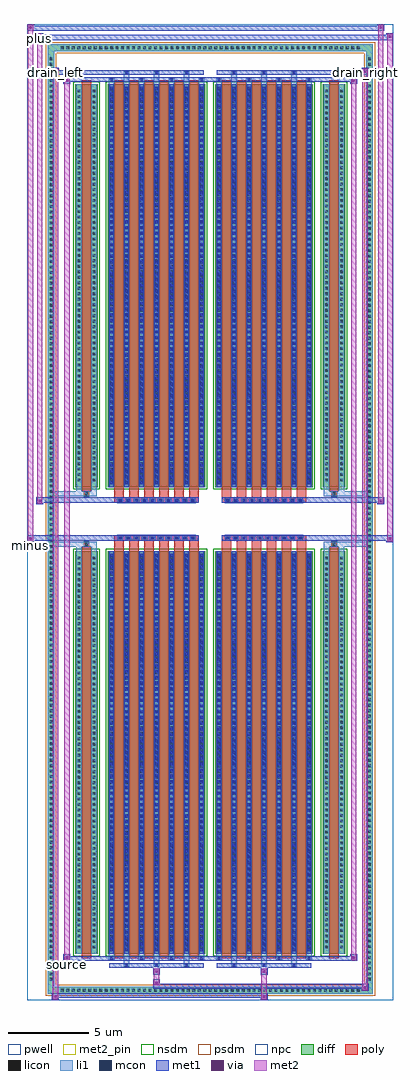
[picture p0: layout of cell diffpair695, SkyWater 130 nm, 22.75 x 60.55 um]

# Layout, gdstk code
import gdstk
lib = gdstk.Library(unit=1e-6, precision=5e-09)
def R(c, l, rs):  # rectangles x0, y0, x1, y1
    for r in rs: c.add(gdstk.rectangle(r[:2], r[2:], *l))
def A(c, l, x, y, w, h, nx, ny, dx, dy):  # array of equal rectangles
    R(c, l, [(x+i*dx, y+j*dy, x+i*dx+w, y+j*dy+h) for i in range(nx) for j in range(ny)])
def P(c, l, *ps):  # polygons
    for p in ps: c.add(gdstk.Polygon(p, *l))
pwell = (64, 44)
diff = (65, 20)
poly = (66, 20)
licon = (66, 44)
li1 = (67, 20)
mcon = (67, 44)
met1 = (68, 20)
via = (68, 44)
met2_pin = (69, 16)
met2 = (69, 20)
nsdm = (93, 44)
psdm = (94, 20)
npc = (95, 20)

diffpair695 = lib.new_cell('diffpair695')
R(diffpair695, pwell, [(-11.36,-29.84,11.36,30.71), (-8.68,-28.03,-0.01,-0.805), (0.01,-28.03,8.68,-0.805), (-8.68,0.805,-0.01,28.03), (0.01,0.805,8.68,28.03)])
A(diffpair695, diff, -9.385, -29.44, 0.41, 0.41, 55, 2, 0.34, 58.47)
A(diffpair695, diff, -10.09, -28.765, 0.41, 0.41, 1, 169, 0, 0.34)
A(diffpair695, diff, 9.68, -28.765, 0.41, 0.41, 1, 169, 0, 0.34)
R(diffpair695, diff, [(-9.385,-29.44,9.385,-29.03), (-10.09,-28.765,-9.68,28.765), (9.68,-28.765,10.09,28.765), (-8.37,-26.985,-6.99,-1.985), (-6.35,-26.985,-0.32,-1.985), (0.32,-26.985,6.35,-1.985), (6.99,-26.985,8.37,-1.985), (-8.37,1.985,-6.99,26.985), (-6.35,1.985,-0.32,26.985), (0.32,1.985,6.35,26.985), (6.99,1.985,8.37,26.985), (-9.385,29.03,9.385,29.44)])
P(diffpair695, diff, [(10.09,29.44),(-10.09,29.44),(-10.09,-29.03),(-9.68,-29.03),(-9.68,29.03),(9.68,29.03),(9.68,-29.03),(-9.68,-29.03),(-10.09,-29.03),(-10.09,-29.44),(10.09,-29.44)])
A(diffpair695, poly, -5.96, -27.235, 0.6, 25.5, 6, 2, 0.93, 28.97)
A(diffpair695, poly, 0.71, -27.235, 0.6, 25.5, 6, 2, 0.93, 28.97)
A(diffpair695, poly, -5.96, -1.735, 0.6, 0.4, 6, 2, 0.93, 3.07)
A(diffpair695, poly, 0.71, -1.735, 0.6, 0.4, 6, 2, 0.93, 3.07)
A(diffpair695, poly, -5.75, -1.335, 0.33, 0.33, 10, 2, 0.5, 2.34)
A(diffpair695, poly, 0.92, -1.335, 0.33, 0.33, 10, 2, 0.5, 2.34)
R(diffpair695, poly, [(-7.98,-27.235,-7.38,-1.735), (7.38,-27.235,7.98,-1.735), (-7.845,-1.735,-7.515,-1.405), (-7.845,-1.735,-7.515,-1.405), (7.515,-1.735,7.845,-1.405), (7.515,-1.735,7.845,-1.405), (-5.96,-1.335,-0.71,-1.005), (0.71,-1.335,5.96,-1.005), (-5.96,1.005,-0.71,1.335), (0.71,1.005,5.96,1.335), (-7.845,1.405,-7.515,1.735), (-7.845,1.405,-7.515,1.735), (7.515,1.405,7.845,1.735), (7.515,1.405,7.845,1.735), (-7.98,1.735,-7.38,27.235), (7.38,1.735,7.98,27.235)])
A(diffpair695, licon, -9.265, -29.32, 0.17, 0.17, 55, 2, 0.34, 58.47)
A(diffpair695, licon, -9.97, -28.645, 0.17, 0.17, 1, 169, 0, 0.34)
A(diffpair695, licon, 9.8, -28.645, 0.17, 0.17, 1, 169, 0, 0.34)
A(diffpair695, licon, -8.23, -26.64, 0.17, 0.17, 1, 72, 0, 0.34)
A(diffpair695, licon, -7.3, -26.64, 0.17, 0.17, 1, 72, 0, 0.34)
A(diffpair695, licon, -6.21, -26.64, 0.17, 0.17, 7, 72, 0.93, 0.34)
A(diffpair695, licon, 0.46, -26.64, 0.17, 0.17, 7, 72, 0.93, 0.34)
A(diffpair695, licon, 7.13, -26.64, 0.17, 0.17, 1, 72, 0, 0.34)
A(diffpair695, licon, 8.06, -26.64, 0.17, 0.17, 1, 72, 0, 0.34)
A(diffpair695, licon, -5.67, -1.255, 0.17, 0.17, 10, 2, 0.5, 2.34)
A(diffpair695, licon, 1, -1.255, 0.17, 0.17, 10, 2, 0.5, 2.34)
A(diffpair695, licon, -8.23, 2.33, 0.17, 0.17, 1, 72, 0, 0.34)
A(diffpair695, licon, -7.3, 2.33, 0.17, 0.17, 1, 72, 0, 0.34)
A(diffpair695, licon, -6.21, 2.33, 0.17, 0.17, 7, 72, 0.93, 0.34)
A(diffpair695, licon, 0.46, 2.33, 0.17, 0.17, 7, 72, 0.93, 0.34)
A(diffpair695, licon, 7.13, 2.33, 0.17, 0.17, 1, 72, 0, 0.34)
A(diffpair695, licon, 8.06, 2.33, 0.17, 0.17, 1, 72, 0, 0.34)
R(diffpair695, licon, [(-7.765,-1.655,-7.595,-1.485), (7.595,-1.655,7.765,-1.485), (-7.765,1.485,-7.595,1.655), (7.595,1.485,7.765,1.655)])
A(diffpair695, li1, -9.345, -29.4, 0.33, 0.33, 55, 2, 0.34, 58.47)
A(diffpair695, li1, -10.05, -28.725, 0.33, 0.33, 1, 169, 0, 0.34)
A(diffpair695, li1, 9.72, -28.725, 0.33, 0.33, 1, 169, 0, 0.34)
A(diffpair695, li1, -5.36, -27.79, 0.33, 0.805, 3, 2, 1.86, 54.775)
A(diffpair695, li1, -5.28, -27.79, 0.17, 0.17, 3, 2, 1.86, 55.41)
A(diffpair695, li1, 1.31, -27.79, 0.33, 0.805, 3, 2, 1.86, 54.775)
A(diffpair695, li1, 1.39, -27.79, 0.17, 0.17, 3, 2, 1.86, 55.41)
A(diffpair695, li1, -6.29, -27.36, 0.33, 0.375, 4, 2, 1.86, 54.345)
A(diffpair695, li1, -6.21, -27.36, 0.17, 0.17, 4, 2, 1.86, 54.55)
A(diffpair695, li1, 0.38, -27.36, 0.33, 0.375, 4, 2, 1.86, 54.345)
A(diffpair695, li1, 0.46, -27.36, 0.17, 0.17, 4, 2, 1.86, 54.55)
A(diffpair695, li1, -6.29, -26.985, 0.33, 25, 7, 2, 0.93, 28.97)
A(diffpair695, li1, 0.38, -26.985, 0.33, 25, 7, 2, 0.93, 28.97)
A(diffpair695, li1, -6.21, -26.81, 0.17, 0.17, 7, 69, 0.93, 0.36)
A(diffpair695, li1, -6.21, -26.81, 0.17, 24.65, 7, 2, 0.93, 28.97)
A(diffpair695, li1, 0.46, -26.81, 0.17, 0.17, 7, 69, 0.93, 0.36)
A(diffpair695, li1, 0.46, -26.81, 0.17, 24.65, 7, 2, 0.93, 28.97)
A(diffpair695, li1, -8.31, -26.72, 0.33, 0.33, 1, 72, 0, 0.34)
A(diffpair695, li1, -7.38, -26.72, 0.33, 0.33, 1, 72, 0, 0.34)
A(diffpair695, li1, -6.29, -26.72, 0.33, 0.33, 7, 72, 0.93, 0.34)
A(diffpair695, li1, 0.38, -26.72, 0.33, 0.33, 7, 72, 0.93, 0.34)
A(diffpair695, li1, 7.05, -26.72, 0.33, 0.33, 1, 72, 0, 0.34)
A(diffpair695, li1, 7.98, -26.72, 0.33, 0.33, 1, 72, 0, 0.34)
A(diffpair695, li1, -5.75, -1.335, 0.33, 0.33, 10, 2, 0.5, 2.34)
A(diffpair695, li1, 0.92, -1.335, 0.33, 0.33, 10, 2, 0.5, 2.34)
A(diffpair695, li1, -6.21, 2.16, 0.17, 0.17, 7, 69, 0.93, 0.36)
A(diffpair695, li1, 0.46, 2.16, 0.17, 0.17, 7, 69, 0.93, 0.36)
A(diffpair695, li1, -8.31, 2.25, 0.33, 0.33, 1, 72, 0, 0.34)
A(diffpair695, li1, -7.38, 2.25, 0.33, 0.33, 1, 72, 0, 0.34)
A(diffpair695, li1, -6.29, 2.25, 0.33, 0.33, 7, 72, 0.93, 0.34)
A(diffpair695, li1, 0.38, 2.25, 0.33, 0.33, 7, 72, 0.93, 0.34)
A(diffpair695, li1, 7.05, 2.25, 0.33, 0.33, 1, 72, 0, 0.34)
A(diffpair695, li1, 7.98, 2.25, 0.33, 0.33, 1, 72, 0, 0.34)
R(diffpair695, li1, [(-10.09,-29.44,-9.68,-29.03), (-10.09,-29.44,-9.68,-29.03), (-9.68,-29.44,9.68,-29.03), (9.68,-29.44,10.09,-29.03), (9.68,-29.44,10.09,-29.03), (-10.09,-29.03,-9.68,29.03), (9.68,-29.03,10.09,29.03), (-8.31,-26.985,-7.98,-1.985), (-7.38,-26.985,-7.05,-1.985), (7.05,-26.985,7.38,-1.985), (7.98,-26.985,8.31,-1.985), (-8.31,-1.985,-7.98,-1.405), (-7.38,-1.985,-7.05,-1.405), (7.05,-1.985,7.38,-1.405), (7.98,-1.985,8.31,-1.405), (-10.09,-1.735,-7.845,-1.405), (-8.31,-1.735,-7.845,-1.405), (-7.845,-1.735,-7.515,-1.405), (-7.515,-1.735,-7.05,-1.405), (7.05,-1.735,7.515,-1.405), (7.515,-1.735,7.845,-1.405), (7.515,-1.735,10.09,-1.405), (7.845,-1.735,8.31,-1.405), (-10.09,1.405,-7.845,1.735), (-8.31,1.405,-7.845,1.735), (-8.31,1.405,-7.98,1.985), (-7.845,1.405,-7.515,1.735), (-7.515,1.405,-7.05,1.735), (-7.38,1.405,-7.05,1.985), (7.05,1.405,7.515,1.735), (7.05,1.405,7.38,1.985), (7.515,1.405,7.845,1.735), (7.515,1.405,10.09,1.735), (7.845,1.405,8.31,1.735), (7.98,1.405,8.31,1.985), (-8.31,1.985,-7.98,26.985), (-7.38,1.985,-7.05,26.985), (7.05,1.985,7.38,26.985), (7.98,1.985,8.31,26.985), (-10.09,29.03,-9.68,29.44), (-10.09,29.03,-9.68,29.44), (-9.68,29.03,9.68,29.44), (9.68,29.03,10.09,29.44), (9.68,29.03,10.09,29.44)])
A(diffpair695, mcon, -5.28, -27.79, 0.17, 0.17, 3, 2, 1.86, 55.41)
A(diffpair695, mcon, 1.39, -27.79, 0.17, 0.17, 3, 2, 1.86, 55.41)
A(diffpair695, mcon, -6.21, -27.36, 0.17, 0.17, 4, 2, 1.86, 54.55)
A(diffpair695, mcon, 0.46, -27.36, 0.17, 0.17, 4, 2, 1.86, 54.55)
A(diffpair695, mcon, -6.21, -26.81, 0.17, 0.17, 7, 69, 0.93, 0.36)
A(diffpair695, mcon, 0.46, -26.81, 0.17, 0.17, 7, 69, 0.93, 0.36)
A(diffpair695, mcon, -5.67, -1.255, 0.17, 0.17, 10, 2, 0.5, 2.34)
A(diffpair695, mcon, 1, -1.255, 0.17, 0.17, 10, 2, 0.5, 2.34)
A(diffpair695, mcon, -6.21, 2.16, 0.17, 0.17, 7, 69, 0.93, 0.36)
A(diffpair695, mcon, 0.46, 2.16, 0.17, 0.17, 7, 69, 0.93, 0.36)
A(diffpair695, met1, -5.34, -27.85, 0.29, 0.29, 3, 2, 1.86, 55.41)
A(diffpair695, met1, 1.33, -27.85, 0.29, 0.29, 3, 2, 1.86, 55.41)
A(diffpair695, met1, -6.27, -27.42, 0.29, 0.29, 4, 2, 1.86, 54.55)
A(diffpair695, met1, 0.4, -27.42, 0.29, 0.29, 4, 2, 1.86, 54.55)
A(diffpair695, met1, -6.27, -26.985, 0.29, 25, 7, 2, 0.93, 28.97)
A(diffpair695, met1, 0.4, -26.985, 0.29, 25, 7, 2, 0.93, 28.97)
A(diffpair695, met1, -6.27, -26.87, 0.29, 0.29, 7, 69, 0.93, 0.36)
A(diffpair695, met1, 0.4, -26.87, 0.29, 0.29, 7, 69, 0.93, 0.36)
A(diffpair695, met1, -5.73, -1.315, 0.29, 0.29, 10, 2, 0.5, 2.34)
A(diffpair695, met1, 0.94, -1.315, 0.29, 0.29, 10, 2, 0.5, 2.34)
A(diffpair695, met1, -6.27, 2.1, 0.29, 0.29, 7, 69, 0.93, 0.36)
A(diffpair695, met1, 0.4, 2.1, 0.29, 0.29, 7, 69, 0.93, 0.36)
R(diffpair695, met1, [(-9.82,-29.84,-9.39,-29.41), (3.12,-29.84,3.55,-29.41), (-9.82,-29.7,3.55,-29.41), (9.39,-29.27,9.82,-28.84), (-3.55,-29.13,9.82,-28.84), (-3.55,-28.99,-3.12,-28.56), (-3.55,-28.28,-3.12,-27.85), (3.12,-28.28,3.55,-27.85), (-6.27,-27.85,-0.4,-27.56), (0.4,-27.85,6.27,-27.56), (-9.11,-27.42,-8.68,-26.99), (-9.11,-27.42,-6.27,-27.13), (-6.27,-27.42,-0.4,-27.13), (-0.4,-27.42,0.4,-27.13), (0.4,-27.42,6.27,-27.13), (6.27,-27.42,9.11,-27.13), (8.68,-27.42,9.11,-26.99), (-11.36,-1.435,-10.93,-1.005), (10.93,-1.435,11.36,-1.005), (-11.36,-1.335,-0.71,-1.005), (-5.96,-1.335,-0.71,-1.005), (0.71,-1.335,5.96,-1.005), (0.71,-1.335,11.36,-1.005), (-10.79,0.905,-10.36,1.335), (10.36,0.905,10.79,1.335), (-10.79,1.005,-5.96,1.335), (-5.96,1.005,-0.71,1.335), (0.71,1.005,5.96,1.335), (5.96,1.005,10.79,1.335), (-9.11,26.99,-8.68,27.42), (8.68,26.99,9.11,27.42), (-9.11,27.13,-6.27,27.42), (-6.27,27.13,-0.4,27.42), (-0.4,27.13,0.4,27.42), (0.4,27.13,6.27,27.42), (6.27,27.13,9.11,27.42), (-9.82,27.56,-9.39,27.99), (-9.82,27.56,-6.27,27.85), (-6.27,27.56,-0.4,27.85), (0.4,27.56,6.27,27.85), (6.27,27.56,9.82,27.85), (9.39,27.56,9.82,27.99), (-10.79,29.71,-10.36,30.14), (-10.79,29.71,-8.68,30.04), (-8.68,29.71,8.68,30.04), (8.68,29.71,11.36,30.04), (10.93,29.71,11.36,30.14), (-11.36,30.28,-10.93,30.71), (-11.36,30.28,-8.68,30.61), (-8.68,30.28,8.68,30.61), (8.68,30.28,10.79,30.61), (10.36,30.28,10.79,30.71)])
R(diffpair695, via, [(-9.68,-29.7,-9.53,-29.55), (3.26,-29.7,3.41,-29.55), (9.53,-29.13,9.68,-28.98), (-3.41,-28.85,-3.26,-28.7), (-3.41,-28.14,-3.26,-27.99), (3.26,-28.14,3.41,-27.99), (-8.97,-27.28,-8.82,-27.13), (8.82,-27.28,8.97,-27.13), (-11.22,-1.295,-11.07,-1.145), (11.07,-1.295,11.22,-1.145), (-10.65,1.045,-10.5,1.195), (10.5,1.045,10.65,1.195), (-8.97,27.13,-8.82,27.28), (8.82,27.13,8.97,27.28), (-9.68,27.7,-9.53,27.85), (9.53,27.7,9.68,27.85), (-10.65,29.85,-10.5,30), (11.07,29.85,11.22,30), (-11.22,30.42,-11.07,30.57), (10.5,30.42,10.65,30.57)])
R(diffpair695, met2_pin, [(-9.145,-27.87,-8.645,-27.37), (-11.395,-1.885,-10.895,-1.385), (-9.855,27.44,-9.355,27.94), (9.355,27.44,9.855,27.94), (-10.825,29.59,-10.325,30.09)])
R(diffpair695, met2, [(-9.77,-29.79,-9.44,-29.46), (-9.77,-29.79,-9.44,27.94), (3.17,-29.79,3.5,-29.46), (3.17,-29.46,3.5,-28.23), (9.44,-29.22,9.77,-28.89), (9.44,-29.22,9.77,27.94), (-3.5,-28.94,-3.17,-28.61), (-3.5,-28.61,-3.17,-28.23), (-3.5,-28.23,-3.17,-27.9), (3.17,-28.23,3.5,-27.9), (-9.06,-27.37,-8.73,-27.04), (-9.06,-27.37,-8.73,27.37), (8.73,-27.37,9.06,-27.04), (8.73,-27.37,9.06,27.37), (-11.31,-1.385,-10.98,-1.055), (-11.31,-1.385,-10.98,30.66), (10.98,-1.385,11.31,-1.055), (10.98,-1.385,11.31,30.09), (-10.74,0.955,-10.41,1.285), (-10.74,0.955,-10.41,30.09), (10.41,0.955,10.74,1.285), (10.41,0.955,10.74,30.66), (-9.06,27.04,-8.73,27.37), (8.73,27.04,9.06,27.37), (-9.77,27.61,-9.44,27.94), (9.44,27.61,9.77,27.94), (-10.74,29.76,-10.41,30.09), (10.98,29.76,11.31,30.09), (-11.31,30.33,-10.98,30.66), (10.41,30.33,10.74,30.66)])
P(diffpair695, met2, [(11.31,-1.385),(11.31,-1.385),(11.31,-1.055),(11.31,-1.055)],
  [(11.31,29.76),(11.31,29.76),(11.31,30.09),(11.31,30.09)],
  [(-10.98,-1.385),(-10.98,-1.385),(-10.98,-1.055),(-10.98,-1.055)],
  [(-10.98,30.33),(-10.98,30.33),(-10.98,30.66),(-10.98,30.66)],
  [(10.74,0.955),(10.74,0.955),(10.74,1.285),(10.74,1.285)],
  [(10.74,30.33),(10.74,30.33),(10.74,30.66),(10.74,30.66)],
  [(-10.41,0.955),(-10.41,0.955),(-10.41,1.285),(-10.41,1.285)],
  [(-10.41,29.76),(-10.41,29.76),(-10.41,30.09),(-10.41,30.09)],
  [(-9.44,-29.79),(-9.44,-29.79),(-9.44,-29.46),(-9.44,-29.46)],
  [(-9.44,27.61),(-9.44,27.61),(-9.44,27.94),(-9.44,27.94)],
  [(9.77,-29.22),(9.77,-29.22),(9.77,-28.89),(9.77,-28.89)],
  [(9.77,27.61),(9.77,27.61),(9.77,27.94),(9.77,27.94)],
  [(-8.73,-27.37),(-8.73,-27.37),(-8.73,-27.04),(-8.73,-27.04)],
  [(-8.73,27.04),(-8.73,27.04),(-8.73,27.37),(-8.73,27.37)],
  [(9.06,-27.37),(9.06,-27.37),(9.06,-27.04),(9.06,-27.04)],
  [(9.06,27.04),(9.06,27.04),(9.06,27.37),(9.06,27.37)])
R(diffpair695, nsdm, [(-8.5,-27.115,-6.86,-1.855), (-6.48,-27.115,-0.19,-1.855), (0.19,-27.115,6.48,-1.855), (6.86,-27.115,8.5,-1.855), (-8.5,1.855,-6.86,27.115), (-6.48,1.855,-0.19,27.115), (0.19,1.855,6.48,27.115), (6.86,1.855,8.5,27.115)])
P(diffpair695, psdm, [(10.22,29.57),(-10.22,29.57),(-10.22,-28.9),(-9.55,-28.9),(-9.55,28.9),(9.55,28.9),(9.55,-28.9),(-9.55,-28.9),(-10.22,-28.9),(-10.22,-29.57),(10.22,-29.57)])
A(diffpair695, npc, -5.77, -1.355, 0.37, 0.37, 10, 2, 0.5, 2.34)
A(diffpair695, npc, 0.9, -1.355, 0.37, 0.37, 10, 2, 0.5, 2.34)
R(diffpair695, npc, [(-7.865,-1.755,-7.495,-1.385), (7.495,-1.755,7.865,-1.385), (-5.77,-1.355,-4.9,-0.985), (-5.77,-1.355,-4.9,-0.985), (-5.27,-1.355,-4.4,-0.985), (-5.27,-1.355,-4.4,-0.985), (-4.77,-1.355,-3.9,-0.985), (-4.77,-1.355,-3.9,-0.985), (-4.27,-1.355,-3.4,-0.985), (-4.27,-1.355,-3.4,-0.985), (-3.77,-1.355,-2.9,-0.985), (-3.77,-1.355,-2.9,-0.985), (-3.27,-1.355,-2.4,-0.985), (-3.27,-1.355,-2.4,-0.985), (-2.77,-1.355,-1.9,-0.985), (-2.77,-1.355,-1.9,-0.985), (-2.27,-1.355,-1.4,-0.985), (-2.27,-1.355,-1.4,-0.985), (-1.77,-1.355,-0.9,-0.985), (-1.77,-1.355,-0.9,-0.985), (0.9,-1.355,1.77,-0.985), (0.9,-1.355,1.77,-0.985), (1.4,-1.355,2.27,-0.985), (1.4,-1.355,2.27,-0.985), (1.9,-1.355,2.77,-0.985), (1.9,-1.355,2.77,-0.985), (2.4,-1.355,3.27,-0.985), (2.4,-1.355,3.27,-0.985), (2.9,-1.355,3.77,-0.985), (2.9,-1.355,3.77,-0.985), (3.4,-1.355,4.27,-0.985), (3.4,-1.355,4.27,-0.985), (3.9,-1.355,4.77,-0.985), (3.9,-1.355,4.77,-0.985), (4.4,-1.355,5.27,-0.985), (4.4,-1.355,5.27,-0.985), (4.9,-1.355,5.77,-0.985), (4.9,-1.355,5.77,-0.985), (-5.77,0.985,-4.9,1.355), (-5.77,0.985,-4.9,1.355), (-5.27,0.985,-4.4,1.355), (-5.27,0.985,-4.4,1.355), (-4.77,0.985,-3.9,1.355), (-4.77,0.985,-3.9,1.355), (-4.27,0.985,-3.4,1.355), (-4.27,0.985,-3.4,1.355), (-3.77,0.985,-2.9,1.355), (-3.77,0.985,-2.9,1.355), (-3.27,0.985,-2.4,1.355), (-3.27,0.985,-2.4,1.355), (-2.77,0.985,-1.9,1.355), (-2.77,0.985,-1.9,1.355), (-2.27,0.985,-1.4,1.355), (-2.27,0.985,-1.4,1.355), (-1.77,0.985,-0.9,1.355), (-1.77,0.985,-0.9,1.355), (0.9,0.985,1.77,1.355), (0.9,0.985,1.77,1.355), (1.4,0.985,2.27,1.355), (1.4,0.985,2.27,1.355), (1.9,0.985,2.77,1.355), (1.9,0.985,2.77,1.355), (2.4,0.985,3.27,1.355), (2.4,0.985,3.27,1.355), (2.9,0.985,3.77,1.355), (2.9,0.985,3.77,1.355), (3.4,0.985,4.27,1.355), (3.4,0.985,4.27,1.355), (3.9,0.985,4.77,1.355), (3.9,0.985,4.77,1.355), (4.4,0.985,5.27,1.355), (4.4,0.985,5.27,1.355), (4.9,0.985,5.77,1.355), (4.9,0.985,5.77,1.355), (-7.865,1.385,-7.495,1.755), (7.495,1.385,7.865,1.755)])
diffpair695.add(gdstk.Label('minus', (-11.145,-1.635), layer=69, texttype=5))
diffpair695.add(gdstk.Label('drain_right', (9.605,27.69), layer=69, texttype=5))
diffpair695.add(gdstk.Label('drain_left', (-9.605,27.69), layer=69, texttype=5))
diffpair695.add(gdstk.Label('source', (-8.895,-27.62), layer=69, texttype=5))
diffpair695.add(gdstk.Label('plus', (-10.575,29.84), layer=69, texttype=5))

lib.write_gds('diffpair695.gds')
